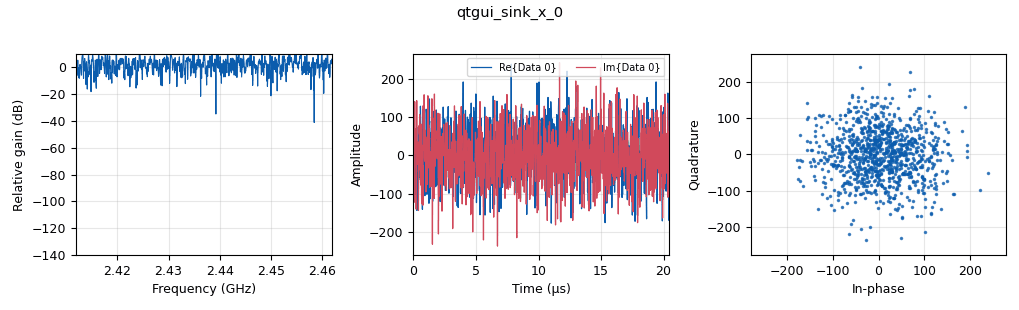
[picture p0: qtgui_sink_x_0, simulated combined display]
options:
  parameters:
    author: blueviolet
    generate_options: qt_gui
    id: jammer
    output_language: python
    title: Not titled yet
  states: {}

blocks:
- name: samp_rate
  id: variable
  parameters:
    value: 2e7
  states: {}
- name: wifi
  id: variable
  parameters:
    value: 2.437e9
  states: {}
- name: analog_noise_source_x_0
  id: analog_noise_source_x
  parameters:
    amp: '1'
    noise_type: analog.GR_GAUSSIAN
    seed: '0'
    type: complex
  states: {}
- name: blocks_multiply_const_vxx_0
  id: blocks_multiply_const_vxx
  parameters:
    const: '100'
    type: complex
  states: {}
- name: osmosdr_sink_0
  id: osmosdr_sink
  parameters:
    args: '"hackrf=0"'
    bb_gain0: '20'
    bw0: 2e7
    freq0: wifi
    gain0: '50'
    if_gain0: '20'
    sample_rate: samp_rate
    sync: sync
    type: fc32
  states: {}
- name: qtgui_sink_x_0
  id: qtgui_sink_x
  parameters:
    bw: 50e6
    fc: wifi
    fftsize: '1024'
    type: complex
  states: {}

connections:
- [analog_noise_source_x_0, '0', blocks_multiply_const_vxx_0, '0']
- [blocks_multiply_const_vxx_0, '0', osmosdr_sink_0, '0']
- [blocks_multiply_const_vxx_0, '0', qtgui_sink_x_0, '0']

metadata:
  file_format: 1
  grc_version: 3.10.9.2
